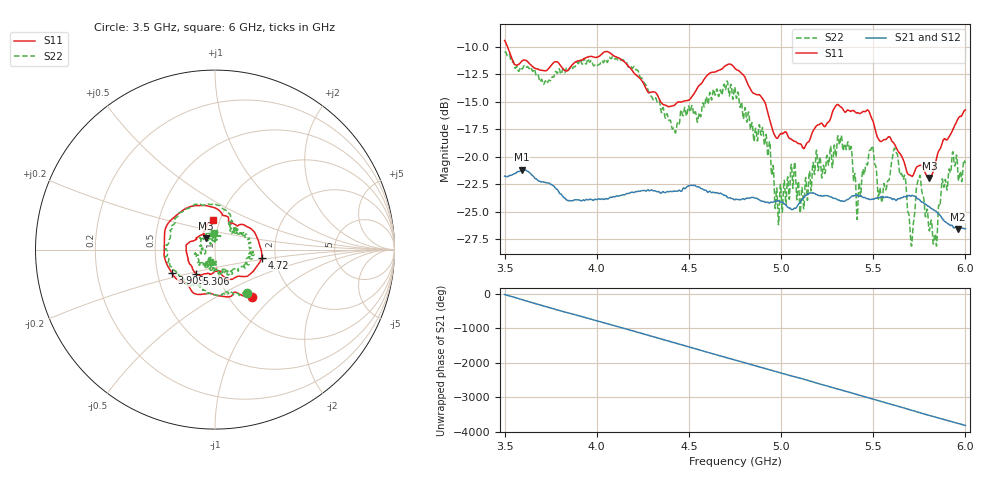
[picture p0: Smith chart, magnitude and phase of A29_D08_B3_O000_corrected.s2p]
! Created with skrf 1.9.0 (http://scikit-rf.org).
# Hz S RI R 50.0
!freq ReS11 ImS11 ReS21 ImS21 ReS12 ImS12 ReS22 ImS22
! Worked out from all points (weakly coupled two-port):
!   1601 points, 3.5 GHz to 6 GHz, reference 50 ohm
!   highest |S21| = -21.18 dB at 3.594 GHz (marker M1); lowest = -26.5 dB at 5.958 GHz (marker M2)
!   lowest |S11| = -21.9 dB at 5.805 GHz (marker M3), VSWR 1.17, Z = 44.9 + j5.67 ohm
!   |S11| at or under -10 dB: 3.516 GHz to end of sweep
!   |S22| runs from -28.1 to -10.5 dB; largest |S21 - S12| = 0.001
!   S11 on the Smith chart (normalised r, x): 3.5 GHz: 1.27, -0.76; 3.909 GHz: 0.60, -0.17; 4.72 GHz: 1.69, -0.16; 5.306 GHz: 0.78, -0.22; 6 GHz: 0.93, +0.31
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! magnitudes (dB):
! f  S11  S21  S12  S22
! 3.5 GHz  -9.4  -21.8  -21.7  -10.5
! 3.594 GHz  -11.3  -21.2  -21.2  -12.0
! 3.909 GHz  -11.3  -24.0  -23.9  -11.1
! 3.917 GHz  -11.2  -24.0  -24.0  -11.5
! 4.334 GHz  -14.6  -23.1  -23.1  -14.9
! 4.42 GHz  -15.3  -23.1  -23.1  -17.5
! 4.72 GHz  -11.6  -23.7  -23.7  -14.4
! 4.75 GHz  -12.0  -23.9  -23.8  -13.8
! 4.928 GHz  -16.0  -24.1  -24.1  -19.9
! 4.978 GHz  -18.3  -24.0  -24.0  -23.1
! 5.167 GHz  -17.9  -23.3  -23.3  -22.0
! 5.306 GHz  -15.2  -23.9  -23.8  -18.2
! 5.42 GHz  -16.0  -23.6  -23.6  -23.0
! 5.487 GHz  -16.4  -23.9  -23.8  -19.4
! 5.537 GHz  -18.6  -23.7  -23.7  -22.9
! 5.584 GHz  -18.2  -23.7  -23.7  -22.1
! 5.62 GHz  -19.0  -23.9  -23.9  -19.3
! 5.705 GHz  -21.7  -23.6  -23.5  -27.9
! 5.747 GHz  -20.8  -23.8  -23.8  -22.0
! 5.805 GHz  -21.9  -24.5  -24.5  -26.7
! 5.958 GHz  -16.6  -26.5  -26.5  -21.1
! 6 GHz  -15.8  -26.5  -26.5  -20.5
